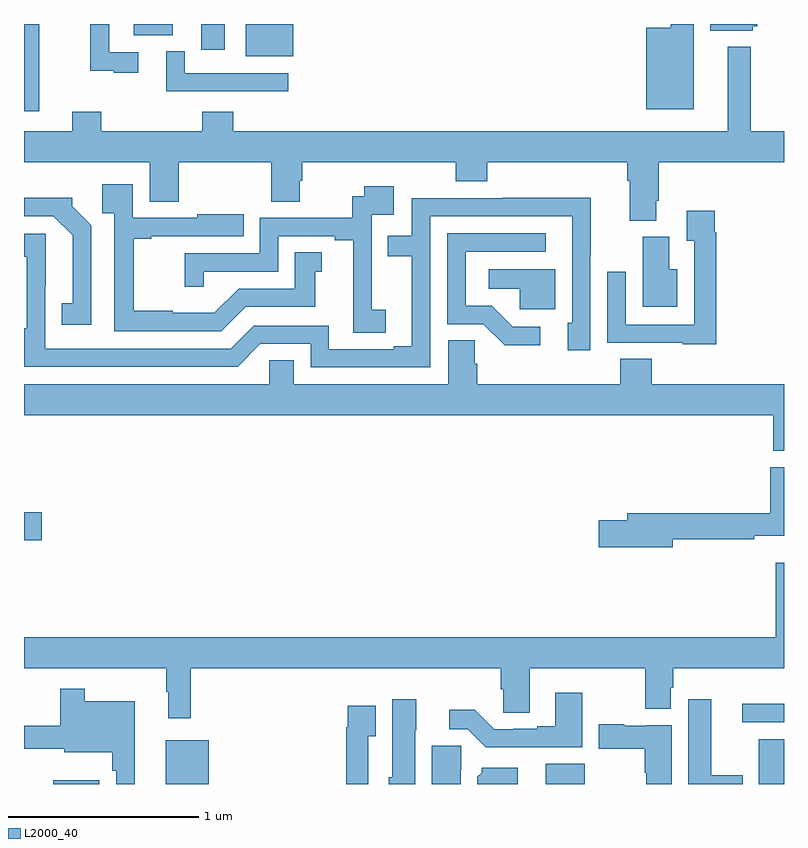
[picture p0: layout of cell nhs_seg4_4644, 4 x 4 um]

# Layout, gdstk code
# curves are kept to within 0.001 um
import gdstk
lib = gdstk.Library(unit=1e-6, precision=1e-09)
def R(c, l, rs):  # rectangles x0, y0, x1, y1
    for r in rs: c.add(gdstk.rectangle(r[:2], r[2:], *l))
def P(c, l, *ps):  # polygons
    for p in ps: c.add(gdstk.Polygon(p, *l))
L2000_40 = (2000, 40)

nhs_seg4_4644 = lib.new_cell('nhs_seg4_4644')
R(nhs_seg4_4644, L2000_40, [(361.153,774.9,361.396,774.919), (361.745,774.9,361.972,775.129), (363.746,774.9,363.952,775.006), (364.868,774.9,365,775.135), (364.779,775.224,365,775.322), (361,776.183,361.093,776.33), (361,778.44,361.081,778.9), (362.168,778.73,362.416,778.9), (361.934,778.764,362.056,778.9), (361.577,778.841,361.783,778.9)])
P(nhs_seg4_4644, L2000_40, [(364.525,778.9),(364.404,778.9),(364.404,778.879),(364.274,778.879),(364.274,778.451),(364.525,778.451)],
  [(364.836,778.887),(364.858,778.887),(364.858,778.9),(364.613,778.9),(364.613,778.865),(364.836,778.865)],
  [(361.6,778.752),(361.449,778.752),(361.449,778.9),(361.348,778.9),(361.348,778.655),(361.472,778.655),(361.472,778.644),(361.6,778.644)],
  [(361.661,777.964),(361.814,777.964),(361.814,778.172),(362.3,778.172),(362.3,777.964),(362.452,777.964),(362.452,778.074),(362.465,778.074),(362.465,778.172),(363.272,778.172),(363.272,778.073),(363.437,778.073),(363.437,778.172),(364.175,778.172),(364.175,778.076),(364.187,778.076),(364.187,777.865),(364.327,777.865),(364.327,777.97),(364.34,777.97),(364.34,778.172),(365,778.172),(365,778.336),(364.825,778.336),(364.825,778.78),(364.703,778.78),(364.703,778.336),(362.102,778.336),(362.102,778.438),(361.937,778.438),(361.937,778.336),(361.406,778.336),(361.406,778.438),(361.253,778.438),(361.253,778.336),(361,778.336),(361,778.172),(361.661,778.172)],
  [(362.392,778.641),(361.845,778.641),(361.845,778.756),(361.748,778.756),(361.748,778.545),(362.392,778.545)],
  [(362.166,777.411),(362.533,777.411),(362.533,777.595),(362.566,777.595),(362.566,777.698),(362.426,777.698),(362.426,777.507),(362.13,777.507),(362.002,777.379),(361.784,777.379),(361.784,777.391),(361.577,777.391),(361.577,777.771),(361.669,777.771),(361.669,777.783),(362.156,777.783),(362.156,777.898),(361.913,777.898),(361.913,777.879),(361.572,777.879),(361.572,778.057),(361.411,778.057),(361.411,777.905),(361.476,777.905),(361.476,777.282),(362.037,777.282)],
  [(362.905,777.396),(362.831,777.396),(362.831,777.593),(362.829,777.593),(362.829,777.897),(362.947,777.897),(362.947,778.045),(362.791,778.045),(362.791,777.993),(362.728,777.993),(362.728,777.879),(362.241,777.879),(362.241,777.693),(361.846,777.693),(361.846,777.516),(361.947,777.516),(361.947,777.597),(362.337,777.597),(362.337,777.783),(362.636,777.783),(362.636,777.763),(362.732,777.763),(362.732,777.385),(362.734,777.385),(362.734,777.274),(362.905,777.274)],
  [(361.353,777.842),(361.254,777.941),(361.254,777.986),(361,777.986),(361,777.888),(361.155,777.888),(361.256,777.787),(361.256,777.431),(361.198,777.431),(361.198,777.318),(361.353,777.318)],
  [(363.138,777.888),(363.885,777.888),(363.885,777.327),(363.863,777.327),(363.863,777.183),(363.981,777.183),(363.981,777.682),(363.983,777.682),(363.983,777.986),(363.52,777.986),(363.52,777.984),(363.042,777.984),(363.042,777.786),(362.914,777.786),(362.914,777.678),(363.041,777.678),(363.041,777.204),(362.945,777.204),(362.945,777.189),(362.604,777.189),(362.604,777.312),(362.208,777.312),(362.088,777.192),(361.113,777.192),(361.114,777.796),(361,777.796),(361,777.675),(361.015,777.675),(361.015,777.299),(361,777.299),(361,777.096),(362.124,777.096),(362.244,777.216),(362.508,777.216),(362.508,777.093),(363.138,777.093)],
  [(364.643,777.803),(364.636,777.803),(364.636,777.916),(364.487,777.916),(364.487,777.76),(364.527,777.76),(364.527,777.318),(364.167,777.318),(364.167,777.595),(364.071,777.595),(364.071,777.222),(364.467,777.222),(364.467,777.215),(364.643,777.215)],
  [(363.718,777.306),(363.573,777.306),(363.462,777.417),(363.324,777.417),(363.324,777.702),(363.745,777.702),(363.745,777.798),(363.228,777.798),(363.228,777.321),(363.417,777.321),(363.53,777.209),(363.718,777.209)],
  [(364.438,777.61),(364.396,777.61),(364.396,777.78),(364.256,777.78),(364.256,777.413),(364.438,777.413)],
  [(363.796,777.61),(363.447,777.61),(363.447,777.506),(363.609,777.506),(363.609,777.399),(363.796,777.399)],
  [(364.943,776.653),(365,776.653),(365,777.004),(364.304,777.004),(364.304,777.137),(364.139,777.137),(364.139,777.004),(363.386,777.004),(363.386,777.113),(363.372,777.113),(363.372,777.236),(363.233,777.236),(363.233,777.004),(362.419,777.004),(362.419,777.131),(362.292,777.131),(362.292,777.004),(361,777.004),(361,776.84),(364.943,776.84)],
  [(364.414,776.188),(364.844,776.188),(364.844,776.207),(365,776.207),(365,776.568),(364.928,776.568),(364.928,776.324),(364.175,776.324),(364.175,776.288),(364.026,776.288),(364.026,776.146),(364.414,776.146)],
  [(361.877,775.508),(363.509,775.508),(363.509,775.398),(363.522,775.398),(363.522,775.276),(363.661,775.276),(363.661,775.508),(364.27,775.508),(364.27,775.295),(364.405,775.295),(364.405,775.407),(364.418,775.407),(364.418,775.508),(365,775.508),(365,776.065),(364.957,776.065),(364.957,775.672),(361,775.672),(361,775.508),(361.749,775.508),(361.749,775.385),(361.76,775.385),(361.76,775.245),(361.877,775.245)],
  [(361.582,775.336),(361.321,775.336),(361.321,775.402),(361.192,775.402),(361.192,775.207),(361,775.207),(361,775.086),(361.211,775.086),(361.211,775.067),(361.465,775.067),(361.465,774.971),(361.485,774.971),(361.485,774.9),(361.582,774.9)],
  [(363.937,775.381),(363.797,775.381),(363.797,775.204),(363.701,775.204),(363.701,775.191),(363.574,775.191),(363.574,775.188),(363.474,775.188),(363.372,775.291),(363.237,775.291),(363.237,775.188),(363.336,775.188),(363.43,775.094),(363.937,775.094)],
  [(363.058,775.182),(363.064,775.182),(363.064,775.345),(362.939,775.345),(362.939,774.936),(362.921,774.936),(362.921,774.9),(363.058,774.9)],
  [(364.783,774.946),(364.618,774.946),(364.618,775.345),(364.496,775.345),(364.496,774.9),(364.783,774.9)],
  [(362.811,775.151),(362.851,775.151),(362.851,775.312),(362.703,775.312),(362.703,775.199),(362.695,775.199),(362.695,774.9),(362.811,774.9)],
  [(364.408,775.21),(364.278,775.21),(364.278,775.207),(364.158,775.207),(364.158,775.215),(364.026,775.215),(364.026,775.085),(364.267,775.085),(364.267,774.958),(364.274,774.958),(364.274,774.9),(364.408,774.9)],
  [(363.298,774.978),(363.302,774.978),(363.302,775.101),(363.146,775.101),(363.146,774.9),(363.298,774.9)],
  [(363.598,774.985),(363.408,774.985),(363.408,774.96),(363.386,774.938),(363.386,774.9),(363.598,774.9)])

lib.write_gds('nhs_seg4_4644.gds')
